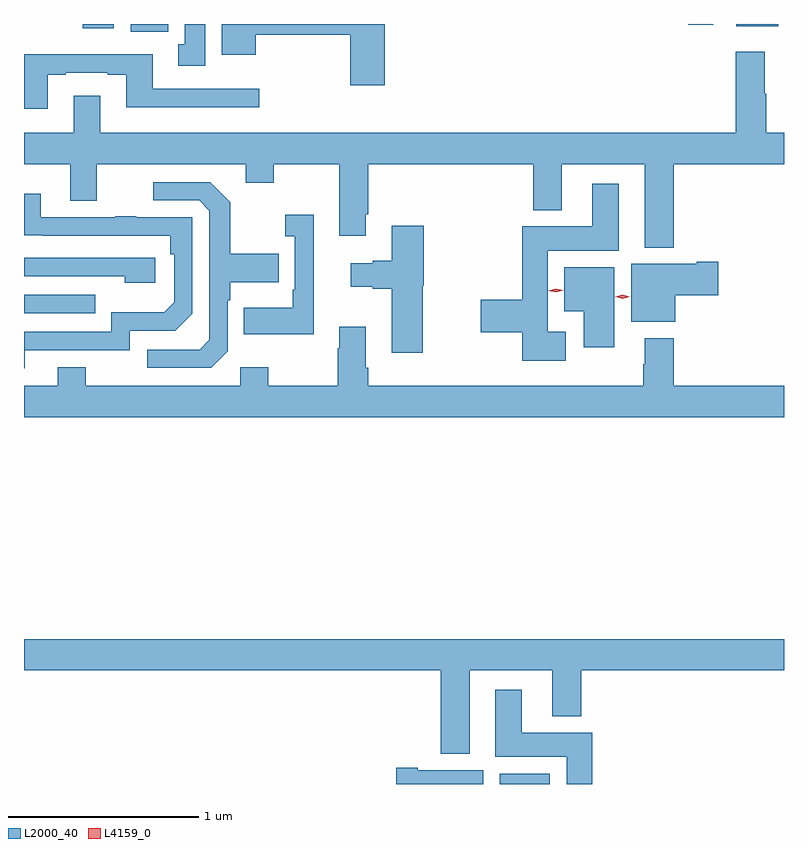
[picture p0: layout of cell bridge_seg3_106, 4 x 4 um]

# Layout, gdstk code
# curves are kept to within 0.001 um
import gdstk
lib = gdstk.Library(unit=1e-6, precision=1e-09)
def R(c, l, rs):  # rectangles x0, y0, x1, y1
    for r in rs: c.add(gdstk.rectangle(r[:2], r[2:], *l))
def P(c, l, *ps):  # polygons
    for p in ps: c.add(gdstk.Polygon(p, *l))
L2000_40 = (2000, 40)
L4159_0 = (4159, 0)

bridge_seg3_106 = lib.new_cell('bridge_seg3_106')
R(bridge_seg3_106, L2000_40, [(277.787,737.613,278.05,737.668), (275.282,740.091,275.657,740.187), (275.843,741.572,276.04,741.613), (275.591,741.59,275.755,741.613), (279.03,741.602,279.253,741.613), (278.778,741.608,278.91,741.613)])
P(bridge_seg3_106, L2000_40, [(276.235,741.613),(276.128,741.613),(276.128,741.506),(276.095,741.506),(276.095,741.393),(276.235,741.393)],
  [(277.181,741.613),(276.323,741.613),(276.323,741.452),(276.502,741.452),(276.502,741.556),(276.998,741.556),(276.998,741.291),(277.181,741.291)],
  [(278.702,740.876),(279.282,740.876),(279.282,741.04),(279.189,741.04),(279.189,741.245),(279.181,741.245),(279.181,741.466),(279.029,741.466),(279.029,741.04),(275.683,741.04),(275.683,741.235),(275.543,741.235),(275.543,741.04),(275.282,741.04),(275.282,740.876),(275.525,740.876),(275.525,740.682),(275.665,740.682),(275.665,740.876),(276.449,740.876),(276.449,740.777),(276.597,740.777),(276.597,740.876),(276.941,740.876),(276.941,740.499),(277.081,740.499),(277.081,740.611),(277.094,740.611),(277.094,740.876),(277.961,740.876),(277.961,740.633),(278.113,740.633),(278.113,740.876),(278.549,740.876),(278.549,740.435),(278.702,740.435)],
  [(275.407,741.345),(275.503,741.345),(275.503,741.357),(275.723,741.357),(275.723,741.345),(275.819,741.345),(275.819,741.176),(276.52,741.176),(276.52,741.273),(275.959,741.273),(275.959,741.454),(275.282,741.454),(275.282,741.168),(275.407,741.168)],
  [(276.354,739.89),(276.354,740.159),(276.367,740.159),(276.367,740.255),(276.623,740.255),(276.623,740.403),(276.367,740.403),(276.367,740.675),(276.261,740.781),(275.961,740.781),(275.961,740.685),(276.204,740.685),(276.258,740.631),(276.258,739.95),(276.207,739.899),(275.931,739.899),(275.931,739.803),(276.267,739.803)],
  [(278.134,739.993),(278.038,739.993),(278.038,740.42),(278.413,740.42),(278.413,740.773),(278.273,740.773),(278.273,740.548),(277.904,740.548),(277.904,740.162),(277.686,740.162),(277.686,739.991),(277.904,739.991),(277.904,739.841),(278.134,739.841)],
  [(275.287,739.896),(275.838,739.896),(275.838,739.998),(276.078,739.998),(276.168,740.088),(276.168,740.595),(275.873,740.595),(275.873,740.6),(275.761,740.6),(275.761,740.595),(275.371,740.595),(275.371,740.719),(275.282,740.719),(275.282,740.5),(276.052,740.499),(276.052,740.402),(276.072,740.402),(276.072,740.148),(276.019,740.095),(275.742,740.095),(275.742,739.992),(275.282,739.992),(275.282,739.8),(275.287,739.8)],
  [(276.806,740.608),(276.657,740.608),(276.657,740.495),(276.708,740.495),(276.708,740.215),(276.696,740.215),(276.696,740.119),(276.439,740.119),(276.439,739.979),(276.806,739.979)],
  [(277.38,740.235),(277.385,740.235),(277.385,740.551),(277.217,740.551),(277.217,740.366),(277.118,740.366),(277.118,740.353),(277.002,740.353),(277.002,740.231),(277.118,740.231),(277.118,740.219),(277.217,740.219),(277.217,739.884),(277.38,739.884)],
  [(275.974,740.382),(275.282,740.382),(275.282,740.286),(275.813,740.286),(275.813,740.252),(275.974,740.252)],
  [(278.71,740.185),(278.935,740.185),(278.935,740.363),(278.822,740.363),(278.822,740.35),(278.477,740.35),(278.477,740.045),(278.71,740.045)],
  [(278.389,740.332),(278.126,740.332),(278.126,740.102),(278.228,740.102),(278.228,739.911),(278.389,739.911)],
  [(279.282,739.708),(278.702,739.708),(278.702,739.96),(278.549,739.96),(278.549,739.823),(278.542,739.823),(278.542,739.708),(277.094,739.708),(277.094,739.804),(277.081,739.804),(277.081,740.02),(276.941,740.02),(276.941,739.907),(276.934,739.907),(276.934,739.708),(276.567,739.708),(276.567,739.807),(276.42,739.807),(276.42,739.708),(275.607,739.708),(275.607,739.807),(275.459,739.807),(275.459,739.708),(275.282,739.708),(275.282,739.544),(279.282,739.544)],
  [(277.627,738.212),(278.063,738.212),(278.063,737.969),(278.216,737.969),(278.216,738.212),(279.282,738.212),(279.282,738.376),(275.282,738.376),(275.282,738.212),(277.475,738.212),(277.475,737.771),(277.627,737.771)],
  [(278.273,737.884),(277.903,737.884),(277.903,738.109),(277.763,738.109),(277.763,737.756),(278.138,737.756),(278.138,737.613),(278.273,737.613)],
  [(277.699,737.686),(277.354,737.686),(277.354,737.699),(277.242,737.699),(277.242,737.613),(277.699,737.613)])
P(bridge_seg3_106, L4159_0, [(278.082,740.2),(278.042,740.209),(278.042,740.209),(278.042,740.209),(278.081,740.22),(278.121,740.212),(278.121,740.211),(278.121,740.211)],
  [(278.433,740.167),(278.395,740.177),(278.395,740.177),(278.395,740.178),(278.433,740.187),(278.47,740.178),(278.47,740.177),(278.47,740.177)])

lib.write_gds('bridge_seg3_106.gds')
